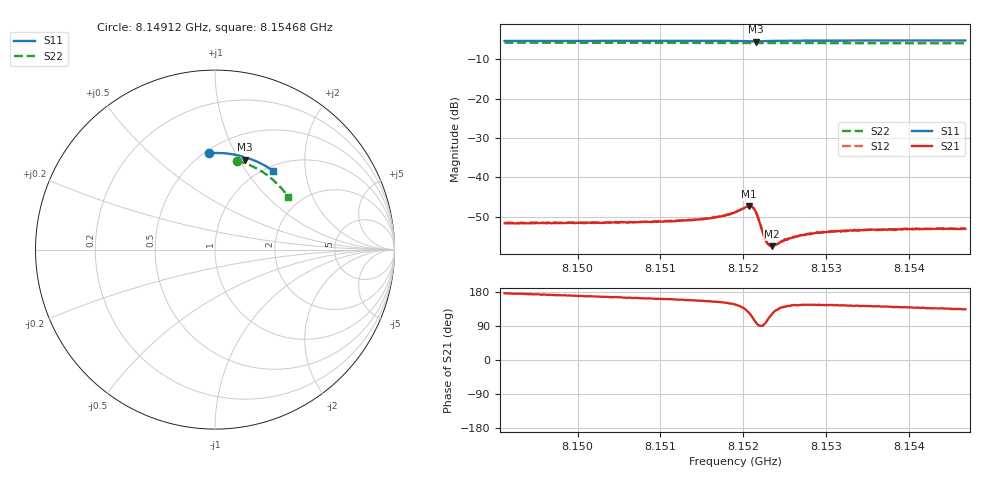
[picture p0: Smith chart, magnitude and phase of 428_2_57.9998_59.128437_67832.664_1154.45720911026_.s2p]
#  HZ  S  RI  R  50.00
! Rohde & Schwarz Vector Network Analyzer
! Rohde-Schwarz,ZNB20-2Port,1311601062101988,3.16
! Created: UTC 3/21/2024, 1:09:26 AM
! freq[Hz]  re:S11  im:S11  re:S21  im:S21  re:S12  im:S12  re:S22  im:S22
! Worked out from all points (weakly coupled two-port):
!   401 points, 8.14912 GHz to 8.15468 GHz, reference 50 ohm
!   highest |S21| = -47.30 dB at 8.152067 GHz (marker M1); lowest = -57.4 dB at 8.152345 GHz (marker M2)
!   lowest |S11| = -5.6 dB at 8.15215 GHz (marker M3), VSWR 3.23, Z = 38.1 + j52.9 ohm
!   |S11| at or under -10 dB: nowhere
!   |S22| runs from -6.0 to -5.8 dB; largest |S21 - S12| = 0.00011
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8.1491202e9  -0.0361 0.5359  -0.00261 0.000183  -0.00264 0.000208  0.1242 0.4955
8.1500514e9  0.0288 0.5379  -0.0026 0.000516  -0.00259 0.000561  0.1812 0.4762
8.1509827e9  0.0936 0.532  -0.00261 0.000877  -0.00261 0.000915  0.2352 0.4505
8.1515943e9  0.1363 0.5232  -0.00273 0.00127  -0.00271 0.00133  0.2686 0.4303
8.1518028e9  0.1514 0.5186  -0.00291 0.00165  -0.00292 0.00171  0.2796 0.4229
8.1519001e9  0.1589 0.5154  -0.00301 0.002  -0.00301 0.00204  0.2845 0.4192
8.1520669e9  0.1691 0.5048  -0.00249 0.00352  -0.00246 0.0036  0.2931 0.4125
8.1521086e9  0.1682 0.5015  -0.00165 0.00386  -0.00159 0.00394  0.2951 0.4111
8.1521503e9  0.1659 0.5009  -0.000635 0.0036  -0.000567 0.00368  0.297 0.4095
8.1521781e9  0.165 0.5024  -0.000134 0.00312  -0.000102 0.00309  0.2982 0.4085
8.1522476e9  0.1682 0.5071  -0.000123 0.00181  -9.14e-05 0.00186  0.3018 0.4064
8.1522754e9  0.1705 0.508  -0.000263 0.00152  -0.000268 0.00155  0.3032 0.405
8.1523171e9  0.1742 0.5088  -0.000548 0.00125  -0.000525 0.0013  0.3054 0.4035
8.1523449e9  0.1768 0.5088  -0.000695 0.00115  -0.000639 0.00119  0.3069 0.4024
8.1524005e9  0.1816 0.5085  -0.000945 0.00106  -0.000935 0.00107  0.3094 0.4002
8.15247e9  0.1871 0.5074  -0.00116 0.00101  -0.00116 0.00106  0.313 0.3976
8.1525812e9  0.1953 0.5051  -0.0014 0.000989  -0.0014 0.00104  0.3185 0.3929
8.1528314e9  0.2126 0.4991  -0.0016 0.00109  -0.0016 0.00115  0.3303 0.3824
8.1530399e9  0.2265 0.4935  -0.00169 0.00118  -0.00166 0.0012  0.3399 0.3733
8.1533179e9  0.2443 0.4855  -0.0017 0.00128  -0.00169 0.00127  0.3524 0.3611
8.1537627e9  0.2718 0.4715  -0.0017 0.00139  -0.00167 0.00139  0.3714 0.3406
8.1546801e9  0.3256 0.4377  -0.00155 0.00161  -0.00153 0.00163  0.4065 0.2949
